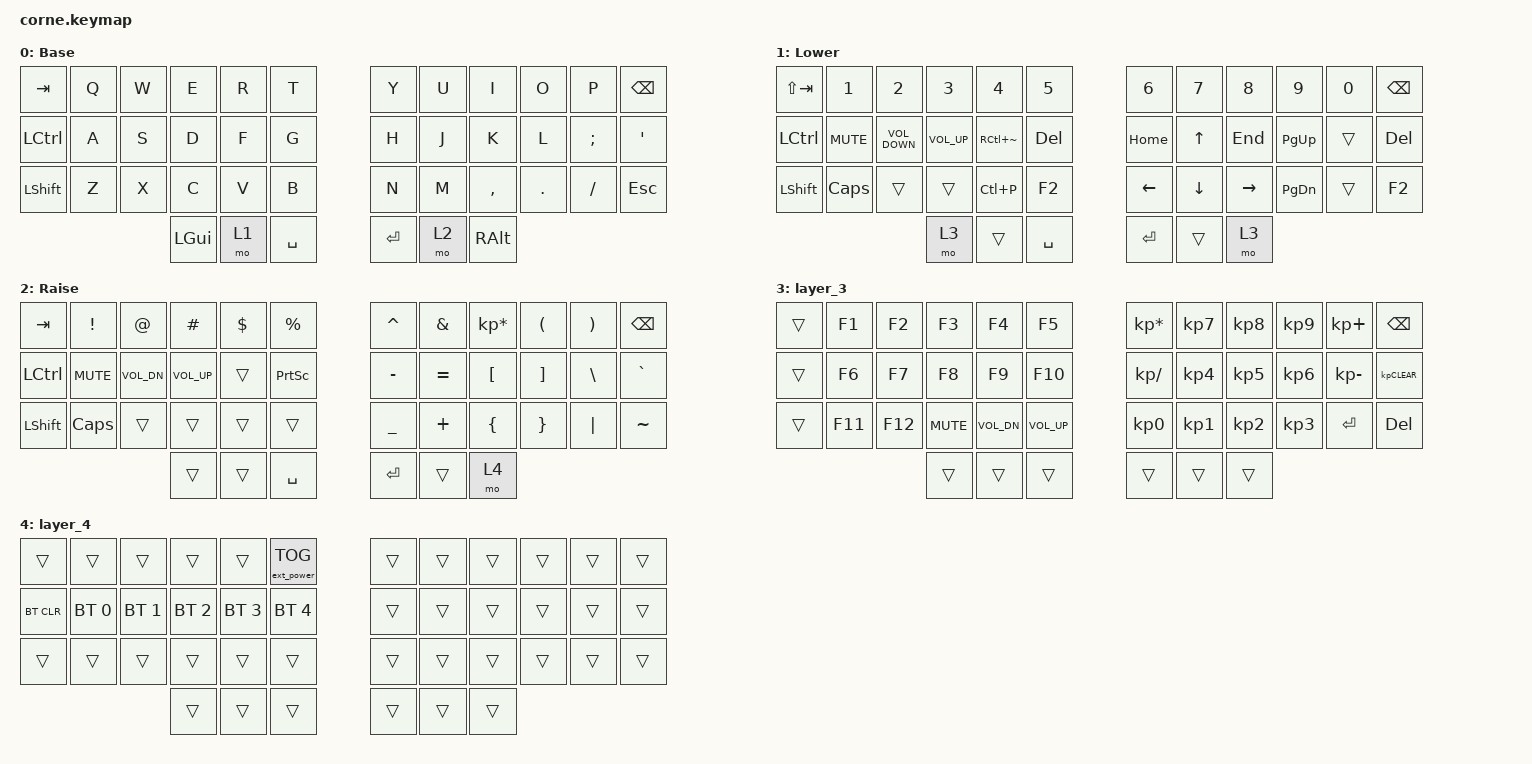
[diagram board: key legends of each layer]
/*
 * Copyright (c) 2020 The ZMK Contributors
 *
 * SPDX-License-Identifier: MIT
 */

#include <behaviors.dtsi>
#include <dt-bindings/zmk/bt.h>
#include <dt-bindings/zmk/ext_power.h>
#include <dt-bindings/zmk/keys.h>

/ {
    combos { compatible = "zmk,combos"; };

    keymap {
        compatible = "zmk,keymap";

        default_layer {
            // -----------------------------------------------------------------------------------------
            // |  TAB |  Q  |  W  |  E  |  R  |  T  |   |  Y  |  U   |  I  |  O  |  P  | BKSP |
            // | CTRL |  A  |  S  |  D  |  F  |  G  |   |  H  |  J   |  K  |  L  |  ;  |  '   |
            // | SHFT |  Z  |  X  |  C  |  V  |  B  |   |  N  |  M   |  ,  |  .  |  /  | ESC  |
            //                    | GUI | LWR | SPC |   | ENT | RSE  | ALT |

            display-name = "Base";
            bindings = <
&kp TAB    &kp Q  &kp W  &kp E     &kp R  &kp T        &kp Y    &kp U  &kp I      &kp O    &kp P     &kp BSPC
&kp LCTRL  &kp A  &kp S  &kp D     &kp F  &kp G        &kp H    &kp J  &kp K      &kp L    &kp SEMI  &kp SQT
&kp LSHFT  &kp Z  &kp X  &kp C     &kp V  &kp B        &kp N    &kp M  &kp COMMA  &kp DOT  &kp FSLH  &kp ESC
                         &kp LGUI  &mo 1  &kp SPACE    &kp RET  &mo 2  &kp RALT
            >;
        };

        lower_layer {
            // -----------------------------------------------------------------------------------------
            // |  TAB |  1  |  2  |  3  |  4  |  5  |   |  6  |  7  |  8  |  9  |  0  | BKSP |
            // | BTCLR| BT1 | BT2 | BT3 | BT4 | BT5 |   | LFT | DWN |  UP | RGT |     |      |
            // | SHFT |     |     |     |     |     |   |     |     |     |     |     |      |
            //                    | GUI |     | SPC |   | ENT |     | ALT |

            display-name = "Lower";
            bindings = <
&kp LS(TAB)  &kp N1        &kp N2             &kp N3        &kp N4         &kp N5       &kp N6    &kp N7        &kp N8     &kp N9         &kp N0  &kp BSPC
&kp LCTRL    &kp C_MUTE    &kp C_VOLUME_DOWN  &kp C_VOL_UP  &kp RC(TILDE)  &kp DEL      &kp HOME  &kp UP_ARROW  &kp END    &kp PAGE_UP    &trans  &kp DEL
&kp LSHFT    &kp CAPSLOCK  &trans             &trans        &kp LC(P)      &kp F2       &kp LEFT  &kp DOWN      &kp RIGHT  &kp PAGE_DOWN  &trans  &kp F2
                                              &mo 3         &trans         &kp SPACE    &kp RET   &trans        &mo 3
            >;
        };

        raise_layer {
            // -----------------------------------------------------------------------------------------
            // |  TAB |  !  |  @  |  #  |  $  |  %  |   |  ^  |  &  |  *  |  (  |  )  | BKSP |
            // | CTRL |     |     |     |     |     |   |  -  |  =  |  [  |  ]  |  \  |  `   |
            // | SHFT |     |     |     |     |     |   |  _  |  +  |  {  |  }  | "|" |  ~   |
            //                    | GUI |     | SPC |   | ENT |     | ALT |

            display-name = "Raise";
            bindings = <
&kp TAB    &kp EXCL    &kp AT        &kp HASH      &kp DLLR  &kp PRCNT          &kp CARET  &kp AMPS   &kp KP_MULTIPLY  &kp LPAR  &kp RPAR  &kp BSPC
&kp LCTRL  &kp C_MUTE  &kp C_VOL_DN  &kp C_VOL_UP  &trans    &kp PRINTSCREEN    &kp MINUS  &kp EQUAL  &kp LBKT         &kp RBKT  &kp BSLH  &kp GRAVE
&kp LSHFT  &kp CAPS    &trans        &trans        &trans    &trans             &kp UNDER  &kp PLUS   &kp LBRC         &kp RBRC  &kp PIPE  &kp TILDE
                                     &trans        &trans    &kp SPACE          &kp RET    &trans     &mo 4
            >;
        };

        layer_3 {
            bindings = <
&trans  &kp F1   &kp F2   &kp F3      &kp F4        &kp F5          &kp KP_MULTIPLY  &kp KP_NUMBER_7  &kp KP_NUMBER_8  &kp KP_NUMBER_9  &kp KP_PLUS   &kp BACKSPACE
&trans  &kp F6   &kp F7   &kp F8      &kp F9        &kp F10         &kp KP_DIVIDE    &kp KP_NUMBER_4  &kp KP_NUMBER_5  &kp KP_NUMBER_6  &kp KP_MINUS  &kp KP_CLEAR
&trans  &kp F11  &kp F12  &kp C_MUTE  &kp C_VOL_DN  &kp C_VOL_UP    &kp KP_NUMBER_0  &kp KP_NUMBER_1  &kp KP_NUMBER_2  &kp KP_NUMBER_3  &kp ENTER     &kp DELETE
                          &trans      &trans        &trans          &trans           &trans           &trans
            >;
        };

        layer_4 {
            bindings = <
&trans      &trans        &trans        &trans        &trans        &ext_power EP_TOG    &trans  &trans  &trans  &trans  &trans  &trans
&bt BT_CLR  &bt BT_SEL 0  &bt BT_SEL 1  &bt BT_SEL 2  &bt BT_SEL 3  &bt BT_SEL 4         &trans  &trans  &trans  &trans  &trans  &trans
&trans      &trans        &trans        &trans        &trans        &trans               &trans  &trans  &trans  &trans  &trans  &trans
                                        &trans        &trans        &trans               &trans  &trans  &trans
            >;
        };
    };
};
